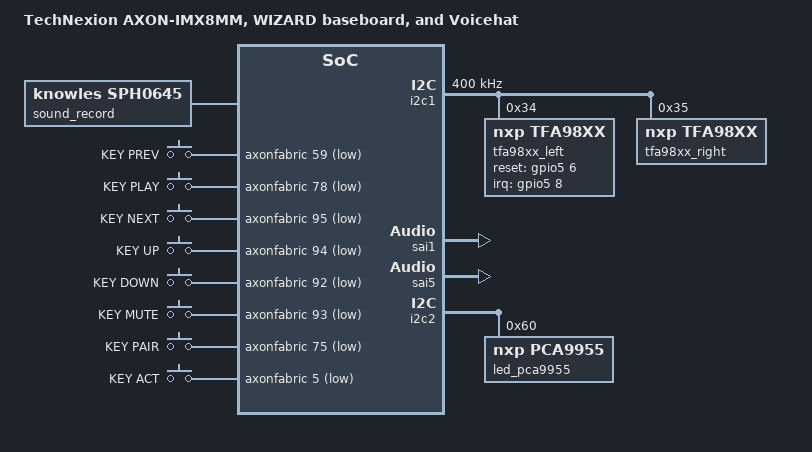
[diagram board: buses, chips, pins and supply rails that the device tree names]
/dts-v1/;
/plugin/;

#include <dt-bindings/clock/imx8mm-clock.h>
#include <dt-bindings/input/input.h>
#include <dt-bindings/gpio/gpio.h>
#include "../imx8mm-pinfunc.h"

/{
    fragment@0 {
        target-path = "/";
        __overlay__ {
           	model = "TechNexion AXON-IMX8MM, WIZARD baseboard, and Voicehat";

            sound-tfa9912 {
                compatible = "nxp,imx-audio-tfa98xx", "nxp,imx-tfa98xx";
                nxp,model = "TFA9912";
                cpu-dai = <&sai1>;
                ssi-controller = <&sai1>;
                nxp,audio-codec = <&tfa98xx_left &tfa98xx_right>;
                clocks = <&clk IMX8MM_CLK_SAI1>;
                nxp,audio-routing =
                    "Speaker", "OUTL",
                    "DMIC1", "Mic",
                    "DMIC2", "Mic",
                    "DMIC3", "Mic",
                    "DMIC4", "Mic";
                status = "okay";
            };

            sound-sph0645 {
                compatible = "nxp,imx-audio-sph0645", "nxp,imx-sph0645";
                nxp,model = "SPH0645";
                cpu-dai = <&sai5>;
                ssi-controller = <&sai5>;
                nxp,audio-codec = <&sound_record>;
                clocks = <&clk IMX8MM_CLK_SAI5>;
            };

            sound_record: codec {
                compatible = "knowles,sph0645";
            };

            leds {
                status = "disabled";
            };

            voicehat_keys {
                compatible = "gpio-keys-polled";
                poll-interval = <100>;
                autorepeat;

                prev {
                    gpios = <&axonfabric 59 GPIO_ACTIVE_LOW>;
                    label = "KEY PREV";
                    linux,code = <KEY_PREVIOUS>;
                };

                play {
                    gpios = <&axonfabric 78 GPIO_ACTIVE_LOW>;
                    label = "KEY PLAY";
                    linux,code = <KEY_PLAY>;
                };

                next {
                    gpios = <&axonfabric 95 GPIO_ACTIVE_LOW>;
                    label = "KEY NEXT";
                    linux,code = <KEY_NEXT>;
                };

                up {
                    gpios = <&axonfabric 94 GPIO_ACTIVE_LOW>;
                    label = "KEY UP";
                    linux,code = <KEY_UP>;
                };

                down {
                    gpios = <&axonfabric 92 GPIO_ACTIVE_LOW>;
                    label = "KEY DOWN";
                    linux,code = <KEY_DOWN>;
                };

                mute {
                    gpios = <&axonfabric 93 GPIO_ACTIVE_LOW>;
                    label = "KEY MUTE";
                    linux,code = <KEY_MUTE>;
                };

                pair {
                    gpios = <&axonfabric 75 GPIO_ACTIVE_LOW>;
                    label = "KEY PAIR";
                    linux,code = <KEY_SELECT>;
                };

                act {
                    gpios = <&axonfabric 5 GPIO_ACTIVE_LOW>;
                    label = "KEY ACT";
                    linux,code = <KEY_OK>;
                };
            };

        };
    };

    fragment@1 {
        target = <&i2c1>;
        __overlay__ {
            #address-cells = <1>;
            #size-cells = <0>;
            clock-frequency = <400000>;
            tfa98xx_left: tfa98xx_left {
                compatible = "nxp,tfa98xx";
                pinctrl-names = "default";
                pinctrl-0 = <&pinctrl_tfa98xx>;
                pcm_sample_format = <0>;
                reg = <0x34>;
                reset-gpio = <&gpio5 6 GPIO_ACTIVE_HIGH>;
                irq-gpio = <&gpio5 8 GPIO_ACTIVE_HIGH>;
            };

            tfa98xx_right: tfa98xx_right {
                compatible = "nxp,tfa98xx";
                reg = <0x35>;
            };
        };
    };

    fragment@2 {
        target = <&sai1>;
        __overlay__ {
            status = "okay";
        };
    };

    fragment@3 {
        target = <&sai5>;
        __overlay__ {
            status = "okay";
        };
    };

    fragment@4 {
        target = <&ecspi1>;
        __overlay__ {
            status = "disabled";
        };
    };

    fragment@5 {
        target = <&pwm2>;
        __overlay__ {
            status = "disabled";
        };
    };

    fragment@6 {
        target = <&pwm3>;
        __overlay__ {
            status = "disabled";
        };
    };

    fragment@7 {
        target = <&codec_wm8960>;
        __overlay__ {
            status = "disabled";
        };
    };

    fragment@8 {
        target = <&sound_wm8960>;
        __overlay__ {
            status = "disabled";
        };
    };

    fragment@9 {
        target = <&i2c2>;
        __overlay__ {
            #address-cells = <1>;
            #size-cells = <0>;
            status = "okay";

            /* PCA9955 - 16-bit RGB LED */
            led_pca9955: pca9955@60 {
                #address-cells = <1>;
                #size-cells = <0>;
                compatible = "nxp,pca9955";
                reg = <0x60>;

                led0 {
                    label = "blue0";
                    linux,default-trigger = "none";
                    reg = <0>;
                };

                led1 {
                    label = "green0";
                    linux,default-trigger = "none";
                    reg = <1>;
                };

                led2 {
                    label = "red0";
                    linux,default-trigger = "none";
                    reg = <2>;
                };

                led3 {
                    label = "blue1";
                    linux,default-trigger = "none";
                    reg = <3>;
                };

                led4 {
                    label = "green1";
                    linux,default-trigger = "none";
                    reg = <4>;
                };

                led5 {
                    label = "red1";
                    linux,default-trigger = "none";
                    reg = <5>;
                };

                led6 {
                    label = "blue2";
                    linux,default-trigger = "none";
                    reg = <6>;
                };

                led7 {
                    label = "green2";
                    linux,default-trigger = "none";
                    reg = <7>;
                };

                led8 {
                    label = "red2";
                    linux,default-trigger = "none";
                    reg = <8>;
                };

                led9 {
                    label = "blue3";
                    linux,default-trigger = "none";
                    reg = <9>;
                };

                led10 {
                    label = "green3";
                    linux,default-trigger = "none";
                    reg = <10>;
                };

                led11 {
                    label = "red3";
                    linux,default-trigger = "none";
                    reg = <11>;
                };

                led12 {
                    label = "blue4";
                    linux,default-trigger = "none";
                    reg = <12>;
                };

                led13 {
                    label = "green4";
                    linux,default-trigger = "none";
                    reg = <13>;
                };

                led14 {
                    label = "red4";
                    linux,default-trigger = "none";
                    reg = <14>;
                };

                led15 {
                    label = "blue5";
                    linux,default-trigger = "none";
                    reg = <15>;
                };
            };
        };
    };

    fragment@10 {
        target = <&pinmux_axonfabric>;
        __overlay__ {
            pinctrl_af_uart_a_rtscts: pcafuartartscts {
                function = "gpio";
            };

            pinctrl_af_pwm_x1_x2: pcafpwmx1x2 {
                function = "gpio";
            };

            pinctrl_af_can_gpio: pcafcan_gpio {
                function = "gpio";
            };

            pinctrl_af_spi_a_cs0_out: pcspia_cs0_out {
                function = "gpio";
            };

            pinctrl_af_gpiokeys: pcgpiokey {
                pins = "F_GPIO_X1_P76";
                function = "gpio"; drive-push-pull;
            };

            pinctrl_af_aud_a_out: pcafauda_out {
                pins = "F_AUD_A_TXD", "F_AUD_A_TXFS", "F_AUD_A_TXCLK";
                function = "passthru_out"; drive-push-pull;
            };

            pinctrl_af_aud_a_in: pcafauda_in {
                pins = "F_AUD_A_RXD";
                function = "passthru_in"; drive-push-pull;
            };

            pinctrl_af_sai5_out: sai5_out {
                pins = "F_AUD_B_TXD", "F_AUD_B_TXFS", "F_AUD_B_TXCLK";
                function = "passthru_out"; drive-push-pull;
            };

            pinctrl_af_sai5_in: sai5_in {
                pins = "F_AUD_B_RXD";
                function = "passthru_in"; drive-push-pull;
            };
        };
    };

    fragment@11 {
        target = <&iomuxc>;
        __overlay__ {
            pinctrl_tfa98xx: tfa98xx_ctrlgrp {
                fsl,pins = <
                    MX8MM_IOMUXC_ECSPI1_MOSI_GPIO5_IO7	0x19 /* RST */
                    MX8MM_IOMUXC_ECSPI1_MISO_GPIO5_IO8	0x19 /* INT */
                >;
            };
        };
    };
};
